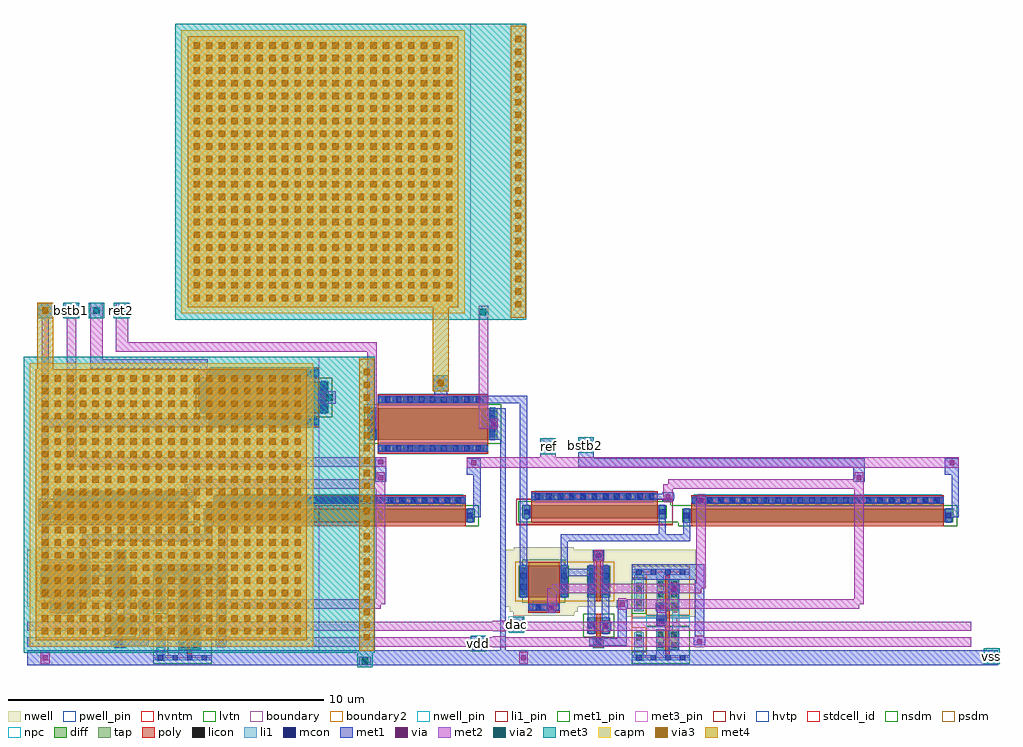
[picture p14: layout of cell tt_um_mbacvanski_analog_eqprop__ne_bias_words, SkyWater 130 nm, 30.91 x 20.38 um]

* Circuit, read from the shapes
.subckt tt_um_mbacvanski_analog_eqprop__ne_bias_words bstb1 bstb2 dac ref ret1 ret2 vdd vss
XM1 tt_um_mbacvanski_analog_eqprop__ne_bias_writer_4/tt_um_mbacvanski_analog_eqprop__n8t_5/D bstb1 tt_um_mbacvanski_analog_eqprop__ne_bias_cap897_2/C1 tt_um_mbacvanski_analog_eqprop__ne_bias_cap897_2/C2 sky130_fd_pr__nfet_g5v0d10v5 w=0.42 l=4
XM2 dac bstb1 tt_um_mbacvanski_analog_eqprop__ne_bias_writer_4/tt_um_mbacvanski_analog_eqprop__n8t_5/D tt_um_mbacvanski_analog_eqprop__ne_bias_cap897_2/C2 sky130_fd_pr__nfet_01v8 w=0.5 l=0.15
XM3 tt_um_mbacvanski_analog_eqprop__ne_bias_writer_4/tt_um_mbacvanski_analog_eqprop__lvt1b_4/G bstb1 tt_um_mbacvanski_analog_eqprop__ne_bias_cap897_2/C2 tt_um_mbacvanski_analog_eqprop__ne_bias_cap897_2/C2 sky130_fd_pr__nfet_01v8 w=0.65 l=0.15
XM4 tt_um_mbacvanski_analog_eqprop__ne_bias_cap897_2/C2 tt_um_mbacvanski_analog_eqprop__ne_bias_cap897_2/C1 ret1 tt_um_mbacvanski_analog_eqprop__ne_bias_cap897_2/C2 sky130_fd_pr__nfet_01v8 w=1 l=3.5
XM5 ref tt_um_mbacvanski_analog_eqprop__ne_bias_writer_4/tt_um_mbacvanski_analog_eqprop__lvt1b_4/G tt_um_mbacvanski_analog_eqprop__ne_bias_writer_4/tt_um_mbacvanski_analog_eqprop__n8t_5/D tt_um_mbacvanski_analog_eqprop__ne_bias_cap897_2/C2 sky130_fd_pr__nfet_01v8 w=0.42 l=8
XM6 tt_um_mbacvanski_analog_eqprop__ne_bias_cap897_2/C2 tt_um_mbacvanski_analog_eqprop__ne_bias_cap897_3/C1 ret2 tt_um_mbacvanski_analog_eqprop__ne_bias_cap897_2/C2 sky130_fd_pr__nfet_01v8 w=1 l=3.5
XM7 tt_um_mbacvanski_analog_eqprop__ne_bias_writer_5/tt_um_mbacvanski_analog_eqprop__n8t_5/D bstb2 tt_um_mbacvanski_analog_eqprop__ne_bias_cap897_3/C1 tt_um_mbacvanski_analog_eqprop__ne_bias_cap897_2/C2 sky130_fd_pr__nfet_g5v0d10v5 w=0.42 l=4
XM8 dac bstb2 tt_um_mbacvanski_analog_eqprop__ne_bias_writer_5/tt_um_mbacvanski_analog_eqprop__n8t_5/D tt_um_mbacvanski_analog_eqprop__ne_bias_cap897_2/C2 sky130_fd_pr__nfet_01v8 w=0.5 l=0.15
XM9 tt_um_mbacvanski_analog_eqprop__ne_bias_writer_5/tt_um_mbacvanski_analog_eqprop__lvt1b_4/G bstb2 tt_um_mbacvanski_analog_eqprop__ne_bias_cap897_2/C2 tt_um_mbacvanski_analog_eqprop__ne_bias_cap897_2/C2 sky130_fd_pr__nfet_01v8 w=0.65 l=0.15
XM10 ref tt_um_mbacvanski_analog_eqprop__ne_bias_writer_5/tt_um_mbacvanski_analog_eqprop__lvt1b_4/G tt_um_mbacvanski_analog_eqprop__ne_bias_writer_5/tt_um_mbacvanski_analog_eqprop__n8t_5/D tt_um_mbacvanski_analog_eqprop__ne_bias_cap897_2/C2 sky130_fd_pr__nfet_01v8 w=0.42 l=8
XM11 tt_um_mbacvanski_analog_eqprop__ne_bias_writer_4/tt_um_mbacvanski_analog_eqprop__n8t_5/D tt_um_mbacvanski_analog_eqprop__ne_bias_writer_4/tt_um_mbacvanski_analog_eqprop__lvt1b_4/G tt_um_mbacvanski_analog_eqprop__ne_bias_cap897_2/C1 vdd sky130_fd_pr__pfet_01v8_lvt w=1 l=1
XM12 dac tt_um_mbacvanski_analog_eqprop__ne_bias_writer_4/tt_um_mbacvanski_analog_eqprop__lvt1b_4/G tt_um_mbacvanski_analog_eqprop__ne_bias_writer_4/tt_um_mbacvanski_analog_eqprop__n8t_5/D vdd sky130_fd_pr__pfet_01v8 w=1 l=0.15
XM13 tt_um_mbacvanski_analog_eqprop__ne_bias_writer_4/tt_um_mbacvanski_analog_eqprop__lvt1b_4/G bstb1 vdd vdd sky130_fd_pr__pfet_01v8_hvt w=1 l=0.15
XM14 tt_um_mbacvanski_analog_eqprop__ne_bias_writer_5/tt_um_mbacvanski_analog_eqprop__n8t_5/D tt_um_mbacvanski_analog_eqprop__ne_bias_writer_5/tt_um_mbacvanski_analog_eqprop__lvt1b_4/G tt_um_mbacvanski_analog_eqprop__ne_bias_cap897_3/C1 vdd sky130_fd_pr__pfet_01v8_lvt w=1 l=1
XM15 dac tt_um_mbacvanski_analog_eqprop__ne_bias_writer_5/tt_um_mbacvanski_analog_eqprop__lvt1b_4/G tt_um_mbacvanski_analog_eqprop__ne_bias_writer_5/tt_um_mbacvanski_analog_eqprop__n8t_5/D vdd sky130_fd_pr__pfet_01v8 w=1 l=0.15
XM16 tt_um_mbacvanski_analog_eqprop__ne_bias_writer_5/tt_um_mbacvanski_analog_eqprop__lvt1b_4/G bstb2 vdd vdd sky130_fd_pr__pfet_01v8_hvt w=1 l=0.15
XC17 tt_um_mbacvanski_analog_eqprop__ne_bias_cap897_2/C1 tt_um_mbacvanski_analog_eqprop__ne_bias_cap897_2/C2 sky130_fd_pr__cap_mim_m3_1 w=8.97 l=8.97
XC18 tt_um_mbacvanski_analog_eqprop__ne_bias_cap897_3/C1 tt_um_mbacvanski_analog_eqprop__ne_bias_cap897_2/C2 sky130_fd_pr__cap_mim_m3_1 w=8.97 l=8.97
.ends

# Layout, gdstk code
import gdstk
lib = gdstk.Library(unit=1e-6, precision=1e-09)
def R(c, l, rs):  # rectangles x0, y0, x1, y1
    for r in rs: c.add(gdstk.rectangle(r[:2], r[2:], *l))
def A(c, l, x, y, w, h, nx, ny, dx, dy):  # array of equal rectangles
    R(c, l, [(x+i*dx, y+j*dy, x+i*dx+w, y+j*dy+h) for i in range(nx) for j in range(ny)])
def P(c, l, *ps):  # polygons
    for p in ps: c.add(gdstk.Polygon(p, *l))
nwell_pin = (64, 16)
nwell = (64, 20)
diff = (65, 20)
tap = (65, 44)
poly = (66, 20)
licon = (66, 44)
li1_pin = (67, 16)
li1 = (67, 20)
mcon = (67, 44)
met1_pin = (68, 16)
met1 = (68, 20)
via = (68, 44)
met2 = (69, 20)
via2 = (69, 44)
met3_pin = (70, 16)
met3 = (70, 20)
via3 = (70, 44)
met4 = (71, 20)
hvi = (75, 20)
hvtp = (78, 44)
stdcell_id = (81, 4)
capm = (89, 44)
nsdm = (93, 44)
psdm = (94, 20)
npc = (95, 20)
pwell_pin = (122, 16)
hvntm = (125, 20)
lvtn = (125, 44)
boundary = (235, 4)
boundary2 = (236, 0)

tt_um_mbacvanski_analog_ = lib.new_cell('tt_um_mbacvanski_analog_eqprop__ne_bias_xprog2')
R(tt_um_mbacvanski_analog_, diff, [(-2.04,-0.5,2.04,0.5)])
R(tt_um_mbacvanski_analog_, poly, [(-1.75,-0.94,1.75,0.94)])
A(tt_um_mbacvanski_analog_, licon, -1.615, -0.86, 0.17, 0.17, 10, 2, 0.34, 1.55)
A(tt_um_mbacvanski_analog_, licon, -1.98, -0.425, 0.17, 0.17, 1, 3, 0, 0.34)
A(tt_um_mbacvanski_analog_, licon, 1.81, -0.425, 0.17, 0.17, 1, 3, 0, 0.34)
R(tt_um_mbacvanski_analog_, li1, [(-1.75,-0.86,1.75,-0.69), (-1.98,-0.52,-1.81,0.52), (1.81,-0.52,1.98,0.52), (-1.75,0.69,1.75,0.86)])
A(tt_um_mbacvanski_analog_, mcon, -1.525, -0.86, 0.17, 0.17, 9, 2, 0.36, 1.55)
R(tt_um_mbacvanski_analog_, mcon, [(-1.98,-0.265,-1.81,-0.095), (1.81,-0.265,1.98,-0.095), (-1.98,0.095,-1.81,0.265), (1.81,0.095,1.98,0.265)])
R(tt_um_mbacvanski_analog_, met1, [(-1.73,-0.89,1.73,-0.66), (-2.01,-0.5,-1.78,0.5), (1.78,-0.5,2.01,0.5), (-1.73,0.66,1.73,0.89)])
R(tt_um_mbacvanski_analog_, nsdm, [(-2.165,-0.625,2.165,0.625)])
R(tt_um_mbacvanski_analog_, npc, [(-1.715,-0.96,1.715,-0.59), (-1.715,0.59,1.715,0.96)])
tt_um_mbacvanski_analog_.add(gdstk.Label('G', (0,0.775), layer=67, texttype=5))
tt_um_mbacvanski_analog_.add(gdstk.Label('S', (1.895,0), layer=67, texttype=5))
tt_um_mbacvanski_analog_.add(gdstk.Label('D', (-1.895,0), layer=67, texttype=5))

c_tt_um_mbacvanski_analog_ = lib.new_cell('tt_um_mbacvanski_analog_eqprop__ne_bias_xprog1')
R(c_tt_um_mbacvanski_analog_, diff, [(-2.04,-0.5,2.04,0.5)])
R(c_tt_um_mbacvanski_analog_, poly, [(-1.75,-0.94,1.75,0.94)])
A(c_tt_um_mbacvanski_analog_, licon, -1.615, -0.86, 0.17, 0.17, 10, 2, 0.34, 1.55)
A(c_tt_um_mbacvanski_analog_, licon, -1.98, -0.425, 0.17, 0.17, 1, 3, 0, 0.34)
A(c_tt_um_mbacvanski_analog_, licon, 1.81, -0.425, 0.17, 0.17, 1, 3, 0, 0.34)
R(c_tt_um_mbacvanski_analog_, li1, [(-1.75,-0.86,1.75,-0.69), (-1.98,-0.52,-1.81,0.52), (1.81,-0.52,1.98,0.52), (-1.75,0.69,1.75,0.86)])
A(c_tt_um_mbacvanski_analog_, mcon, -1.525, -0.86, 0.17, 0.17, 9, 2, 0.36, 1.55)
R(c_tt_um_mbacvanski_analog_, mcon, [(-1.98,-0.265,-1.81,-0.095), (1.81,-0.265,1.98,-0.095), (-1.98,0.095,-1.81,0.265), (1.81,0.095,1.98,0.265)])
R(c_tt_um_mbacvanski_analog_, met1, [(-1.73,-0.89,1.73,-0.66), (-2.01,-0.5,-1.78,0.5), (1.78,-0.5,2.01,0.5), (-1.73,0.66,1.73,0.89)])
R(c_tt_um_mbacvanski_analog_, nsdm, [(-2.165,-0.625,2.165,0.625)])
R(c_tt_um_mbacvanski_analog_, npc, [(-1.715,-0.96,1.715,-0.59), (-1.715,0.59,1.715,0.96)])
c_tt_um_mbacvanski_analog_.add(gdstk.Label('G', (0,0.775), layer=67, texttype=5))
c_tt_um_mbacvanski_analog_.add(gdstk.Label('S', (1.895,0), layer=67, texttype=5))
c_tt_um_mbacvanski_analog_.add(gdstk.Label('D', (-1.895,0), layer=67, texttype=5))

c_tt_um_mbacvanski_analog__ = lib.new_cell('tt_um_mbacvanski_analog_eqprop__ne_bias_cap897')
R(c_tt_um_mbacvanski_analog__, met3, [(-5.565,-4.685,5.565,4.685)])
A(c_tt_um_mbacvanski_analog__, via3, 5.205, -4.3, 0.2, 0.2, 1, 22, 0, 0.4)
A(c_tt_um_mbacvanski_analog__, via3, -4.98, -4.1, 0.2, 0.2, 21, 21, 0.4, 0.4)
R(c_tt_um_mbacvanski_analog__, met4, [(5.065,-4.625,5.545,4.625), (-5.17,-4.29,3.41,4.29)])
R(c_tt_um_mbacvanski_analog__, capm, [(-5.365,-4.485,3.605,4.485)])
R(c_tt_um_mbacvanski_analog__, boundary, [(-5.565,-4.685,3.805,4.685)])
c_tt_um_mbacvanski_analog__.add(gdstk.Label('C1', (-0.88,0), layer=71, texttype=5))
c_tt_um_mbacvanski_analog__.add(gdstk.Label('C2', (5.305,0), layer=71, texttype=5))

sky130_fd_sc_hd__inv_1 = lib.new_cell('sky130_fd_sc_hd__inv_1')
R(sky130_fd_sc_hd__inv_1, nwell_pin, [(0.145,2.635,0.315,2.805), (0.145,2.635,0.315,2.805)])
R(sky130_fd_sc_hd__inv_1, nwell, [(-0.19,1.305,1.57,2.91)])
R(sky130_fd_sc_hd__inv_1, diff, [(0.34,0.235,1.01,0.885), (0.34,1.485,1.01,2.485)])
P(sky130_fd_sc_hd__inv_1, poly, [(0.6,0.105),(0.6,0.995),(0.32,0.995),(0.32,1.325),(0.6,1.325),(0.6,2.615),(0.75,2.615),(0.75,0.105)])
A(sky130_fd_sc_hd__inv_1, licon, 0.38, 1.575, 0.17, 0.17, 1, 3, 0, 0.34)
A(sky130_fd_sc_hd__inv_1, licon, 0.8, 1.575, 0.17, 0.17, 1, 3, 0, 0.34)
R(sky130_fd_sc_hd__inv_1, licon, [(0.38,0.315,0.55,0.485), (0.8,0.315,0.97,0.485), (0.38,0.655,0.55,0.825), (0.8,0.655,0.97,0.825), (0.4,1.075,0.57,1.245)])
R(sky130_fd_sc_hd__inv_1, li1_pin, [(0.36,1.105,0.53,1.275), (0.82,1.105,0.99,1.275), (0.82,1.445,0.99,1.615)])
R(sky130_fd_sc_hd__inv_1, li1, [(0,-0.085,1.38,0.085), (0.32,0.005,0.55,0.905), (0.32,1.075,0.65,1.315), (0.34,1.495,0.55,2.675), (0,2.635,1.38,2.805)])
P(sky130_fd_sc_hd__inv_1, li1, [(0.72,0.255),(0.72,0.885),(0.82,0.885),(0.82,1.485),(0.72,1.485),(0.72,2.465),(1.05,2.465),(1.05,0.255)])
A(sky130_fd_sc_hd__inv_1, mcon, 0.145, -0.085, 0.17, 0.17, 3, 2, 0.46, 2.72)
R(sky130_fd_sc_hd__inv_1, met1_pin, [(0.145,-0.085,0.315,0.085), (0.145,-0.085,0.315,0.085), (0.145,2.635,0.315,2.805), (0.145,2.635,0.315,2.805)])
R(sky130_fd_sc_hd__inv_1, hvtp, [(0,1.25,1.38,2.72)])
R(sky130_fd_sc_hd__inv_1, stdcell_id, [(0,0,1.38,2.72)])
R(sky130_fd_sc_hd__inv_1, nsdm, [(0,-0.19,1.38,1.015)])
R(sky130_fd_sc_hd__inv_1, psdm, [(0,1.355,1.38,2.91)])
R(sky130_fd_sc_hd__inv_1, npc, [(0,0.975,1.38,1.345)])
R(sky130_fd_sc_hd__inv_1, pwell_pin, [(0.145,-0.085,0.315,0.085), (0.145,-0.085,0.315,0.085)])
R(sky130_fd_sc_hd__inv_1, boundary2, [(0,0,1.38,2.72)])
sky130_fd_sc_hd__inv_1.add(gdstk.FlexPath([(0,0),(1.38,0)], 0.48, ends="flush", simple_path=True, layer=68, datatype=20))  # met1
sky130_fd_sc_hd__inv_1.add(gdstk.FlexPath([(0,2.72),(1.38,2.72)], 0.48, ends="flush", simple_path=True, layer=68, datatype=20))  # met1
sky130_fd_sc_hd__inv_1.add(gdstk.Label('A', (0.445,1.19), layer=67, texttype=5))
sky130_fd_sc_hd__inv_1.add(gdstk.Label('Y', (0.905,1.19), layer=67, texttype=5))
sky130_fd_sc_hd__inv_1.add(gdstk.Label('Y', (0.905,1.53), layer=67, texttype=5))
sky130_fd_sc_hd__inv_1.add(gdstk.Label('VPWR', (0.23,2.72), layer=68, texttype=5))
sky130_fd_sc_hd__inv_1.add(gdstk.Label('VGND', (0.23,0), layer=68, texttype=5))
sky130_fd_sc_hd__inv_1.add(gdstk.Label('inv_1', (0,0), layer=83, texttype=44))
sky130_fd_sc_hd__inv_1.add(gdstk.Label('VPB', (0.23,2.72), layer=64, texttype=5))
sky130_fd_sc_hd__inv_1.add(gdstk.Label('VNB', (0.23,0), layer=64, texttype=59))

sky130_fd_sc_hd__tapvpwr = lib.new_cell('sky130_fd_sc_hd__tapvpwrvgnd_1')
R(sky130_fd_sc_hd__tapvpwr, nwell, [(-0.19,1.305,0.65,2.91)])
R(sky130_fd_sc_hd__tapvpwr, tap, [(0.145,0.32,0.315,0.845), (0.145,1.525,0.315,2.4)])
R(sky130_fd_sc_hd__tapvpwr, licon, [(0.145,0.555,0.315,0.725), (0.145,1.645,0.315,1.815), (0.145,2.11,0.315,2.28)])
R(sky130_fd_sc_hd__tapvpwr, li1, [(0,-0.085,0.46,0.085), (0.085,0,0.375,0.81), (0.085,1.47,0.375,2.72), (0,2.635,0.46,2.805)])
R(sky130_fd_sc_hd__tapvpwr, mcon, [(0.145,-0.085,0.315,0.085), (0.145,2.635,0.315,2.805)])
R(sky130_fd_sc_hd__tapvpwr, met1_pin, [(0.105,-0.09,0.36,0.1), (0.11,2.62,0.375,2.765)])
R(sky130_fd_sc_hd__tapvpwr, met1, [(0,-0.24,0.46,0.24), (0,2.48,0.46,2.96)])
R(sky130_fd_sc_hd__tapvpwr, hvtp, [(0,1.25,0.46,2.72)])
R(sky130_fd_sc_hd__tapvpwr, stdcell_id, [(0,0,0.46,2.72)])
R(sky130_fd_sc_hd__tapvpwr, nsdm, [(0,-0.19,0.46,0.19), (0,1.395,0.46,2.53)])
R(sky130_fd_sc_hd__tapvpwr, psdm, [(0,0.19,0.46,0.975), (0,2.53,0.46,2.91)])
sky130_fd_sc_hd__tapvpwr.add(gdstk.Label('VGND', (0.23,0), layer=68, texttype=5))
sky130_fd_sc_hd__tapvpwr.add(gdstk.Label('VPWR', (0.23,2.72), layer=68, texttype=5))
sky130_fd_sc_hd__tapvpwr.add(gdstk.Label('tapvpwrvgnd_1', (0,0), layer=83, texttype=44))

c_tt_um_mbacvanski_analog___ = lib.new_cell('tt_um_mbacvanski_analog_eqprop__tgpt')
R(c_tt_um_mbacvanski_analog___, nwell, [(-0.545,-0.99,0.545,0.82)])
R(c_tt_um_mbacvanski_analog___, diff, [(-0.365,-0.68,0.365,0.32)])
R(c_tt_um_mbacvanski_analog___, poly, [(-0.075,-0.81,0.075,0.475), (-0.165,0.475,0.165,0.805)])
A(c_tt_um_mbacvanski_analog___, licon, -0.305, -0.605, 0.17, 0.17, 1, 3, 0, 0.34)
A(c_tt_um_mbacvanski_analog___, licon, 0.135, -0.605, 0.17, 0.17, 1, 3, 0, 0.34)
R(c_tt_um_mbacvanski_analog___, licon, [(-0.085,0.555,0.085,0.725)])
R(c_tt_um_mbacvanski_analog___, li1, [(-0.305,-0.7,-0.135,0.34), (0.135,-0.7,0.305,0.34), (-0.165,0.555,0.165,0.725)])
R(c_tt_um_mbacvanski_analog___, mcon, [(-0.305,-0.445,-0.135,-0.275), (0.135,-0.445,0.305,-0.275), (-0.305,-0.085,-0.135,0.085), (0.135,-0.085,0.305,0.085), (-0.085,0.555,0.085,0.725)])
R(c_tt_um_mbacvanski_analog___, met1, [(-0.335,-0.68,-0.105,0.32), (0.105,-0.68,0.335,0.32), (-0.145,0.525,0.145,0.755)])
R(c_tt_um_mbacvanski_analog___, psdm, [(-0.49,-0.805,0.49,0.445)])
R(c_tt_um_mbacvanski_analog___, npc, [(-0.185,0.455,0.185,0.825)])
c_tt_um_mbacvanski_analog___.add(gdstk.Label('G', (0,0.64), layer=67, texttype=5))
c_tt_um_mbacvanski_analog___.add(gdstk.Label('S', (0.22,-0.18), layer=67, texttype=5))
c_tt_um_mbacvanski_analog___.add(gdstk.Label('D', (-0.22,-0.18), layer=67, texttype=5))

c_tt_um_mbacvanski_analog____ = lib.new_cell('tt_um_mbacvanski_analog_eqprop__tgnb')
R(c_tt_um_mbacvanski_analog____, diff, [(-0.365,-0.095,0.365,0.405)])
R(c_tt_um_mbacvanski_analog____, poly, [(-0.165,-0.535,0.165,-0.205), (-0.075,-0.205,0.075,0.535)])
R(c_tt_um_mbacvanski_analog____, licon, [(-0.085,-0.455,0.085,-0.285), (-0.305,0.07,-0.135,0.24), (0.135,0.07,0.305,0.24)])
R(c_tt_um_mbacvanski_analog____, li1, [(-0.165,-0.455,0.165,-0.285), (-0.305,-0.115,-0.135,0.425), (0.135,-0.115,0.305,0.425)])
R(c_tt_um_mbacvanski_analog____, mcon, [(-0.085,-0.455,0.085,-0.285), (-0.305,0.07,-0.135,0.24), (0.135,0.07,0.305,0.24)])
R(c_tt_um_mbacvanski_analog____, met1, [(-0.145,-0.485,0.145,-0.255), (-0.335,-0.095,-0.105,0.405), (0.105,-0.095,0.335,0.405)])
R(c_tt_um_mbacvanski_analog____, nsdm, [(-0.49,-0.22,0.49,0.53)])
R(c_tt_um_mbacvanski_analog____, npc, [(-0.185,-0.555,0.185,-0.185)])
c_tt_um_mbacvanski_analog____.add(gdstk.Label('G', (0,-0.37), layer=67, texttype=5))
c_tt_um_mbacvanski_analog____.add(gdstk.Label('S', (0.22,0.155), layer=67, texttype=5))
c_tt_um_mbacvanski_analog____.add(gdstk.Label('D', (-0.22,0.155), layer=67, texttype=5))

c_tt_um_mbacvanski_analog_____ = lib.new_cell('tt_um_mbacvanski_analog_eqprop__lvt1b')
R(c_tt_um_mbacvanski_analog_____, nwell, [(-0.97,-0.82,0.97,0.99)])
R(c_tt_um_mbacvanski_analog_____, diff, [(-0.79,-0.32,0.79,0.68)])
R(c_tt_um_mbacvanski_analog_____, poly, [(-0.5,-0.805,0.5,0.81)])
A(c_tt_um_mbacvanski_analog_____, licon, -0.73, -0.245, 0.17, 0.17, 1, 3, 0, 0.34)
A(c_tt_um_mbacvanski_analog_____, licon, 0.56, -0.245, 0.17, 0.17, 1, 3, 0, 0.34)
R(c_tt_um_mbacvanski_analog_____, licon, [(-0.255,-0.725,-0.085,-0.555), (0.085,-0.725,0.255,-0.555)])
R(c_tt_um_mbacvanski_analog_____, li1, [(-0.5,-0.725,0.5,-0.555), (-0.73,-0.34,-0.56,0.7), (0.56,-0.34,0.73,0.7)])
R(c_tt_um_mbacvanski_analog_____, mcon, [(-0.265,-0.725,-0.095,-0.555), (0.095,-0.725,0.265,-0.555), (-0.73,-0.085,-0.56,0.085), (0.56,-0.085,0.73,0.085), (-0.73,0.275,-0.56,0.445), (0.56,0.275,0.73,0.445)])
R(c_tt_um_mbacvanski_analog_____, met1, [(-0.48,-0.755,0.48,-0.525), (-0.76,-0.32,-0.53,0.68), (0.53,-0.32,0.76,0.68)])
R(c_tt_um_mbacvanski_analog_____, psdm, [(-0.915,-0.445,0.915,0.805)])
R(c_tt_um_mbacvanski_analog_____, npc, [(-0.355,-0.825,0.355,-0.455)])
R(c_tt_um_mbacvanski_analog_____, lvtn, [(-0.68,-0.5,0.68,0.86)])
c_tt_um_mbacvanski_analog_____.add(gdstk.Label('G', (0,-0.64), layer=67, texttype=5))
c_tt_um_mbacvanski_analog_____.add(gdstk.Label('S', (0.645,0.18), layer=67, texttype=5))
c_tt_um_mbacvanski_analog_____.add(gdstk.Label('D', (-0.645,0.18), layer=67, texttype=5))

c_tt_um_mbacvanski_analog______ = lib.new_cell('tt_um_mbacvanski_analog_eqprop__n8t')
R(c_tt_um_mbacvanski_analog______, diff, [(-4.29,-0.365,4.29,0.055)])
R(c_tt_um_mbacvanski_analog______, poly, [(-4,-0.495,4,0.495)])
A(c_tt_um_mbacvanski_analog______, licon, -3.825, 0.245, 0.17, 0.17, 23, 1, 0.34, 0)
R(c_tt_um_mbacvanski_analog______, licon, [(-4.23,-0.24,-4.06,-0.07), (4.06,-0.24,4.23,-0.07)])
R(c_tt_um_mbacvanski_analog______, li1, [(-4.23,-0.385,-4.06,0.075), (4.06,-0.385,4.23,0.075), (-4,0.245,4,0.415)])
A(c_tt_um_mbacvanski_analog______, mcon, -3.865, 0.245, 0.17, 0.17, 22, 1, 0.36, 0)
R(c_tt_um_mbacvanski_analog______, mcon, [(-4.23,-0.24,-4.06,-0.07), (4.06,-0.24,4.23,-0.07)])
R(c_tt_um_mbacvanski_analog______, met1, [(-4.26,-0.365,-4.03,0.055), (4.03,-0.365,4.26,0.055), (-3.98,0.215,3.98,0.445)])
R(c_tt_um_mbacvanski_analog______, nsdm, [(-4.415,-0.49,4.415,0.18)])
R(c_tt_um_mbacvanski_analog______, npc, [(-3.925,0.145,3.925,0.515)])
c_tt_um_mbacvanski_analog______.add(gdstk.Label('G', (0,0.33), layer=67, texttype=5))
c_tt_um_mbacvanski_analog______.add(gdstk.Label('S', (4.145,-0.155), layer=67, texttype=5))
c_tt_um_mbacvanski_analog______.add(gdstk.Label('D', (-4.145,-0.155), layer=67, texttype=5))

c_tt_um_mbacvanski_analog_______ = lib.new_cell('tt_um_mbacvanski_analog_eqprop__hv4t')
R(c_tt_um_mbacvanski_analog_______, diff, [(-2.29,-0.365,2.29,0.055)])
R(c_tt_um_mbacvanski_analog_______, poly, [(-2,-0.495,2,0.495)])
A(c_tt_um_mbacvanski_analog_______, licon, -1.785, 0.245, 0.17, 0.17, 11, 1, 0.34, 0)
R(c_tt_um_mbacvanski_analog_______, licon, [(-2.23,-0.24,-2.06,-0.07), (2.06,-0.24,2.23,-0.07)])
R(c_tt_um_mbacvanski_analog_______, li1, [(-2.23,-0.385,-2.06,0.075), (2.06,-0.385,2.23,0.075), (-2,0.245,2,0.415)])
A(c_tt_um_mbacvanski_analog_______, mcon, -1.885, 0.245, 0.17, 0.17, 11, 1, 0.36, 0)
R(c_tt_um_mbacvanski_analog_______, mcon, [(-2.23,-0.24,-2.06,-0.07), (2.06,-0.24,2.23,-0.07)])
R(c_tt_um_mbacvanski_analog_______, met1, [(-2.26,-0.365,-2.03,0.055), (2.03,-0.365,2.26,0.055), (-1.98,0.215,1.98,0.445)])
R(c_tt_um_mbacvanski_analog_______, hvi, [(-2.475,-0.575,2.475,0.265)])
R(c_tt_um_mbacvanski_analog_______, nsdm, [(-2.415,-0.49,2.415,0.18)])
R(c_tt_um_mbacvanski_analog_______, npc, [(-1.885,0.145,1.885,0.515)])
R(c_tt_um_mbacvanski_analog_______, hvntm, [(-2.475,-0.55,2.475,0.24)])
c_tt_um_mbacvanski_analog_______.add(gdstk.Label('G', (0,0.33), layer=67, texttype=5))
c_tt_um_mbacvanski_analog_______.add(gdstk.Label('S', (2.145,-0.155), layer=67, texttype=5))
c_tt_um_mbacvanski_analog_______.add(gdstk.Label('D', (-2.145,-0.155), layer=67, texttype=5))

c_tt_um_mbacvanski_analog________ = lib.new_cell('tt_um_mbacvanski_analog_eqprop__ne_bias_writer')
R(c_tt_um_mbacvanski_analog________, nwell, [(0.255,1.64,2.185,1.72)])
P(c_tt_um_mbacvanski_analog________, nwell, [(0.14,1.755),(0.14,1.91),(0,1.91),(0,3.72),(0.27,3.72),(0.27,3.8),(2.17,3.8),(2.17,3.72),(6.03,3.72),(6.03,1.91),(2.29,1.91),(2.29,1.76),(2.19,1.76),(2.19,1.91),(0.25,1.91),(0.25,1.755)])
R(c_tt_um_mbacvanski_analog________, li1, [(4.86,1.375,5.03,1.545), (5.26,2.415,5.43,2.585)])
R(c_tt_um_mbacvanski_analog________, mcon, [(4.86,1.375,5.03,1.545), (5.26,2.415,5.43,2.585)])
R(c_tt_um_mbacvanski_analog________, met1, [(0,0.06,14.75,0.54), (2.99,1.17,3.35,1.43), (2.615,1.465,2.845,2.5), (3.055,1.465,3.285,2.5), (1.295,1.77,1.655,2.03), (0.46,2.22,0.69,6.2), (5.165,2.37,5.525,2.63), (2.77,3.41,3.13,3.67), (14.135,4.76,14.365,6.2), (6.02,5.16,6.38,5.42)])
P(c_tt_um_mbacvanski_analog________, met1, [(11.02,5.87),(11.02,6.13),(11.085,6.13),(11.085,6.2),(11.315,6.2),(11.315,6.13),(11.38,6.13),(11.38,5.87)],
  [(4.97,5.28),(4.97,5.325),(4.7,5.325),(4.7,5.495),(4.97,5.495),(4.97,5.54),(5.33,5.54),(5.33,5.495),(5.35,5.495),(5.35,5.325),(5.33,5.325),(5.33,5.28)],
  [(1.765,2.885),(1.765,3),(1.75,3),(1.75,4.215),(4.85,4.215),(4.85,4.86),(5.08,4.86),(5.08,4.215),(5.63,4.215),(5.63,4.86),(5.86,4.86),(5.86,3.985),(1.98,3.985),(1.98,3.115),(2.83,3.115),(2.83,2.885)],
  [(5.97,0.69),(5.97,0.95),(6,0.95),(6,2.78),(5.66,2.78),(5.66,3.26),(6.3,3.26),(6.3,0.95),(6.33,0.95),(6.33,0.69)],
  [(2.65,0.68),(2.65,0.915),(3.555,0.915),(3.555,1.87),(3.52,1.87),(3.52,2.13),(3.88,2.13),(3.88,1.87),(3.845,1.87),(3.845,0.68)],
  [(4.8,1.315),(4.8,1.78),(4.765,1.78),(4.765,2.04),(5.125,2.04),(5.125,1.78),(5.09,1.78),(5.09,1.315)])
R(c_tt_um_mbacvanski_analog________, via, [(0.5,0.225,0.65,0.375), (6.075,0.745,6.225,0.895), (3.095,1.225,3.245,1.375), (1.4,1.825,1.55,1.975), (4.87,1.835,5.02,1.985), (3.625,1.925,3.775,2.075), (5.27,2.425,5.42,2.575), (2.875,3.465,3.025,3.615), (6.125,5.215,6.275,5.365), (5.075,5.335,5.225,5.485), (11.125,5.925,11.275,6.075)])
R(c_tt_um_mbacvanski_analog________, met2, [(0.435,0.11,0.715,0.49)])
P(c_tt_um_mbacvanski_analog________, met2, [(4.815,1.73),(4.815,1.85),(3.83,1.85),(3.83,1.82),(3.57,1.82),(3.57,2.18),(3.83,2.18),(3.83,2.15),(11.05,2.15),(11.05,5.65),(5.3,5.65),(5.3,5.41),(5.28,5.41),(5.28,5.23),(5.02,5.23),(5.02,5.41),(5,5.41),(5,5.8),(5.15,5.8),(5.15,5.95),(11.05,5.95),(11.05,6),(11.07,6),(11.07,6.18),(11.33,6.18),(11.33,6),(11.35,6),(11.35,2),(11.2,2),(11.2,1.85),(5.075,1.85),(5.075,1.73)],
  [(1.345,1.72),(1.345,1.9),(1.325,1.9),(1.325,2.5),(1.475,2.5),(1.475,2.65),(2.8,2.65),(2.8,3.54),(2.82,3.54),(2.82,3.72),(3.08,3.72),(3.08,3.54),(3.1,3.54),(3.1,2.65),(5.215,2.65),(5.215,2.68),(5.475,2.68),(5.475,2.65),(6.05,2.65),(6.05,5.29),(6.07,5.29),(6.07,5.47),(6.33,5.47),(6.33,5.29),(6.35,5.29),(6.35,2.5),(6.2,2.5),(6.2,2.35),(5.475,2.35),(5.475,2.32),(5.215,2.32),(5.215,2.35),(1.625,2.35),(1.625,1.9),(1.605,1.9),(1.605,1.72)],
  [(3.04,1.12),(3.04,1.15),(0,1.15),(0,1.45),(3.04,1.45),(3.04,1.48),(3.3,1.48),(3.3,1.45),(14.75,1.45),(14.75,1.15),(3.3,1.15),(3.3,1.12)],
  [(6.02,0.64),(6.02,0.65),(0,0.65),(0,0.95),(6.02,0.95),(6.02,1),(6.28,1),(6.28,0.95),(14.75,0.95),(14.75,0.65),(6.28,0.65),(6.28,0.64)])
R(c_tt_um_mbacvanski_analog________, nsdm, [(5.235,4.59,5.475,5.14)])
R(c_tt_um_mbacvanski_analog________, psdm, [(2.135,2.095,2.46,3.345)])
c_tt_um_mbacvanski_analog________.add(gdstk.Reference(sky130_fd_sc_hd__inv_1, (4.46,0.3)))
c_tt_um_mbacvanski_analog________.add(gdstk.Reference(sky130_fd_sc_hd__tapvpwr, (4,0.3)))
c_tt_um_mbacvanski_analog________.add(gdstk.Reference(c_tt_um_mbacvanski_analog___, (2.95,2.9)))
c_tt_um_mbacvanski_analog________.add(gdstk.Reference(c_tt_um_mbacvanski_analog____, (2.95,1.165)))
c_tt_um_mbacvanski_analog________.add(gdstk.Reference(c_tt_um_mbacvanski_analog_____, (1.22,2.54)))
c_tt_um_mbacvanski_analog________.add(gdstk.Reference(c_tt_um_mbacvanski_analog______, (9.89,4.96)))
c_tt_um_mbacvanski_analog________.add(gdstk.Reference(c_tt_um_mbacvanski_analog_______, (2.82,5.08)))
c_tt_um_mbacvanski_analog________.add(gdstk.Label('we', (11.2,6.1), layer=68, texttype=5))
c_tt_um_mbacvanski_analog________.add(gdstk.Label('vss', (14.6,0.3), layer=68, texttype=5))
c_tt_um_mbacvanski_analog________.add(gdstk.Label('ref', (14.14,6.1), layer=68, texttype=5))
c_tt_um_mbacvanski_analog________.add(gdstk.Label('gn', (0.59,6.1), layer=68, texttype=5))
c_tt_um_mbacvanski_analog________.add(gdstk.Label('vdd', (14.6,0.82), layer=69, texttype=5))
c_tt_um_mbacvanski_analog________.add(gdstk.Label('dac', (14.6,1.3), layer=69, texttype=5))

c_tt_um_mbacvanski_analog_________ = lib.new_cell('tt_um_mbacvanski_analog_eqprop__ne_bias_words')
R(c_tt_um_mbacvanski_analog_________, met1, [(283.9,1.91,284.3,2.39), (299.05,1.91,299.9,2.39), (284.13,2.3,284.31,9.2), (280.17,7.72,280.53,8.5), (295.32,7.72,295.68,8.47), (283.07,7.95,283.515,8.47), (298.22,7.95,298.665,8.47), (269.61,8.05,269.84,13.4), (284.76,8.05,284.99,10.45), (286.6,8.19,287.1,9.14), (286.6,8.19,295.68,8.47), (279.94,9.06,280.22,10.06), (283.78,9.06,284.31,10.06), (269.61,9.45,275.2,9.74), (274.59,10.19,274.87,10.61), (278.43,10.19,278.71,10.61), (283.65,10.22,284.99,10.45), (282.05,10.3,282.45,11.1), (282,10.6,282.5,11.1), (269.475,12.9,269.975,13.4)])
R(c_tt_um_mbacvanski_analog_________, via, [(279.775,1.975,279.925,2.125), (283.22,8.25,283.37,8.4), (298.37,8.25,298.52,8.4), (280.275,8.275,280.425,8.425), (286.775,8.815,286.925,8.965), (280.005,9.485,280.155,9.635), (283.845,9.485,283.995,9.635), (274.655,10.325,274.805,10.475), (278.495,10.325,278.645,10.475), (282.175,10.775,282.325,10.925), (269.65,13.075,269.8,13.225)])
R(c_tt_um_mbacvanski_analog_________, met2, [(279.665,1.91,280.035,2.19), (283.25,2.4,283.65,2.83), (283.9,2.49,284.3,2.83), (283.9,2.99,284.3,3.33), (284.45,2.99,284.85,3.45), (283.07,8.17,298.665,8.5), (285.4,8.17,285.9,9.1), (270.4,8.2,280.53,8.5), (270.4,8.2,270.7,13.4), (286.6,8.64,287.1,9.14), (279.925,9.4,280.225,12.15), (283.45,9.4,283.75,13.3), (283.45,9.4,284.06,9.72), (274.575,10.2,274.875,11.6), (278.375,10.2,278.925,10.6), (282,10.6,282.5,11.1), (271.15,11.3,271.55,13.4), (271.15,11.3,274.875,11.6), (271.95,11.85,272.35,13.4), (271.95,11.85,280.225,12.15), (269.475,12.9,269.975,13.4), (270.3,12.9,270.8,13.4)])
A(c_tt_um_mbacvanski_analog_________, via2, 270.45, 13.05, 0.2, 0.2, 3, 1, 0.8, 0)
R(c_tt_um_mbacvanski_analog_________, via2, [(279.75,1.95,279.95,2.15), (283.35,2.5,283.55,2.7), (284.55,3.1,284.75,3.3), (285.55,8.75,285.75,8.95), (286.75,8.79,286.95,8.99), (278.625,10.3,278.825,10.5), (282.15,10.75,282.35,10.95), (283.5,13,283.7,13.2), (269.625,13.05,269.825,13.25)])
A(c_tt_um_mbacvanski_analog_________, met3_pin, 270.48, 13.08, 0.14, 0.14, 3, 1, 0.8, 0)
R(c_tt_um_mbacvanski_analog_________, met3_pin, [(299.63,2.13,299.77,2.27), (283.38,2.53,283.52,2.67), (284.58,3.13,284.72,3.27), (285.58,8.78,285.72,8.92), (286.78,8.82,286.92,8.96)])
A(c_tt_um_mbacvanski_analog_________, met3, 270.3, 12.9, 0.5, 0.5, 3, 1, 0.8, 0)
R(c_tt_um_mbacvanski_analog_________, met3, [(279.6,1.85,280.1,2.4), (299.45,1.95,299.95,2.45), (283.2,2.35,283.7,2.85), (284.4,2.95,284.9,3.45), (285.4,8.6,285.9,9.1), (286.6,8.64,287.1,9.14), (282,10.6,282.5,11.1), (283.4,12.86,283.8,13.3), (269.475,12.9,269.975,13.4)])
R(c_tt_um_mbacvanski_analog_________, via3, [(282.15,10.75,282.35,10.95), (269.625,13.05,269.825,13.25)])
R(c_tt_um_mbacvanski_analog_________, met4, [(282,10.6,282.5,13.35), (269.475,11.2,269.975,13.4), (269.475,12.9,269.975,13.4)])
c_tt_um_mbacvanski_analog_________.add(gdstk.Reference(tt_um_mbacvanski_analog_, (282,9.56)))
c_tt_um_mbacvanski_analog_________.add(gdstk.Reference(c_tt_um_mbacvanski_analog_, (276.65,10.4)))
c_tt_um_mbacvanski_analog_________.add(gdstk.Reference(c_tt_um_mbacvanski_analog__, (274.6,7)))
c_tt_um_mbacvanski_analog_________.add(gdstk.Reference(c_tt_um_mbacvanski_analog__, (279.4,17.55)))
c_tt_um_mbacvanski_analog_________.add(gdstk.Reference(c_tt_um_mbacvanski_analog________, (269.15,1.85)))
c_tt_um_mbacvanski_analog_________.add(gdstk.Reference(c_tt_um_mbacvanski_analog________, (284.3,1.85)))
c_tt_um_mbacvanski_analog_________.add(gdstk.Label('vdd', (283.45,2.6), layer=70, texttype=5))
c_tt_um_mbacvanski_analog_________.add(gdstk.Label('bstb2', (286.85,8.89), layer=70, texttype=5))
c_tt_um_mbacvanski_analog_________.add(gdstk.Label('vss', (299.7,2.2), layer=70, texttype=5))
c_tt_um_mbacvanski_analog_________.add(gdstk.Label('ref', (285.65,8.85), layer=70, texttype=5))
c_tt_um_mbacvanski_analog_________.add(gdstk.Label('bstb1', (270.55,13.15), layer=70, texttype=5))
c_tt_um_mbacvanski_analog_________.add(gdstk.Label('ret2', (272.15,13.15), layer=70, texttype=5))
c_tt_um_mbacvanski_analog_________.add(gdstk.Label('dac', (284.65,3.2), layer=70, texttype=5))
c_tt_um_mbacvanski_analog_________.add(gdstk.Label('ret1', (271.35,13.15), layer=70, texttype=5))

lib.write_gds('tt_um_mbacvanski_analog_eqprop__ne_bias_words.gds')
